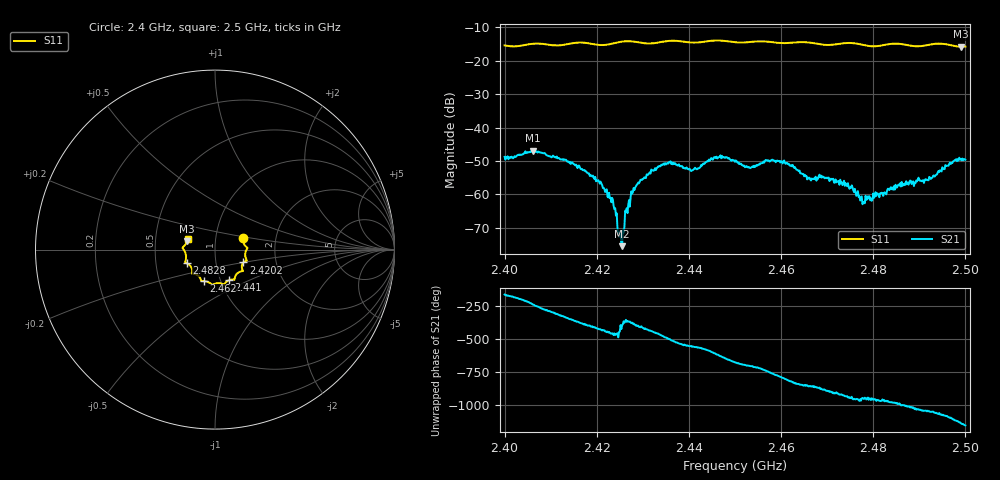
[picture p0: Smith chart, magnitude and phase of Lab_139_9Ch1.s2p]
# Hz S RI R 50
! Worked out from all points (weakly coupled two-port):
!   601 points, 2.4 GHz to 2.5 GHz, reference 50 ohm
!   highest |S21| = -46.94 dB at 2.4062 GHz (marker M1); lowest = -75.5 dB at 2.4255 GHz (marker M2)
!   lowest |S11| = -15.8 dB at 2.499 GHz (marker M3), VSWR 1.39, Z = 36.4 + j3.48 ohm
!   |S11| at or under -10 dB: start of sweep to end of sweep
!   S12 and S22 are empty: the file has one direction only
!   S11 on the Smith chart (normalised r, x): 2.4 GHz: 1.36, +0.18; 2.4202 GHz: 1.36, -0.20; 2.441 GHz: 1.10, -0.39; 2.462 GHz: 0.84, -0.30; 2.4828 GHz: 0.72, -0.11; 2.5 GHz: 0.73, +0.09
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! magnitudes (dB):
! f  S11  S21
! 2.4 GHz  -15.4  -48.8
! 2.4062 GHz  -14.9  -46.9
! 2.4167 GHz  -14.5  -52.5
! 2.4202 GHz  -15.2  -55.9
! 2.4232 GHz  -14.9  -62.4
! 2.425 GHz  -14.3  -71.3
! 2.4255 GHz  -14.2  -75.5
! 2.4265 GHz  -14.1  -64.1
! 2.428 GHz  -14.3  -58.1
! 2.4333 GHz  -14.5  -51.6
! 2.441 GHz  -14.6  -52.6
! 2.4455 GHz  -13.9  -48.8
! 2.45 GHz  -14.4  -50.2
! 2.462 GHz  -14.6  -51.4
! 2.4667 GHz  -14.6  -55.2
! 2.474 GHz  -14.7  -56.6
! 2.4777 GHz  -15.2  -63.0
! 2.4828 GHz  -15.1  -60.0
! 2.4833 GHz  -15.0  -58.4
! 2.4915 GHz  -15.4  -55.7
! 2.499 GHz  -15.8  -49.4
! 2.5 GHz  -15.7  -49.6
